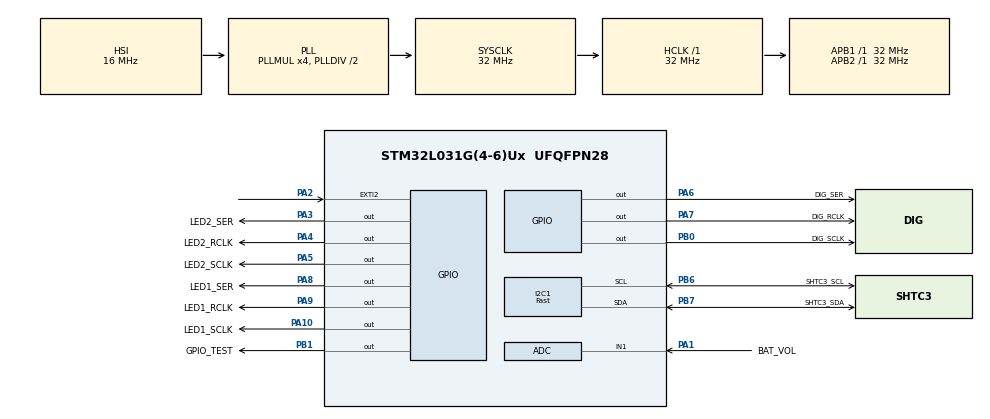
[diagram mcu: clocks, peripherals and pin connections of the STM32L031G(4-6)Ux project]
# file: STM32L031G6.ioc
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ADC.SamplingTime=ADC_SAMPLETIME_19CYCLES_5
I2C1.I2C_Fall_Time=20
I2C1.I2C_Rise_Time=30
I2C1.I2C_Speed_Mode=I2C_Fast
I2C1.Timing=0x00401035
Mcu.Family=STM32L0
Mcu.Name=STM32L031G(4-6)Ux
Mcu.Package=UFQFPN28
NVIC.EXTI2_3_IRQn=true\:0\:0\:false\:false\:true\:true\:true\:true
PA1.GPIO_Label=BAT_VOL
PA1.Mode=IN1
PA1.Signal=ADC_IN1
PA10.GPIO_Label=LED1_SCLK
PA10.GPIO_Speed=GPIO_SPEED_FREQ_VERY_HIGH
PA10.Signal=GPIO_Output
PA13.Mode=Serial_Wire
PA13.Signal=SYS_SWDIO
PA14.Mode=Serial_Wire
PA14.Signal=SYS_SWCLK
PA2.GPIO_ModeDefaultEXTI=GPIO_MODE_IT_FALLING
PA2.GPIO_PuPd=GPIO_PULLUP
PA2.Signal=GPXTI2
PA3.GPIO_Label=LED2_SER
PA3.GPIO_Speed=GPIO_SPEED_FREQ_VERY_HIGH
PA3.Signal=GPIO_Output
PA4.GPIO_Label=LED2_RCLK
PA4.GPIO_Speed=GPIO_SPEED_FREQ_VERY_HIGH
PA4.Signal=GPIO_Output
PA5.GPIO_Label=LED2_SCLK
PA5.GPIO_Speed=GPIO_SPEED_FREQ_VERY_HIGH
PA5.Signal=GPIO_Output
PA6.GPIO_Label=DIG_SER
PA6.GPIO_Speed=GPIO_SPEED_FREQ_VERY_HIGH
PA6.Signal=GPIO_Output
PA7.GPIO_Label=DIG_RCLK
PA7.GPIO_Speed=GPIO_SPEED_FREQ_VERY_HIGH
PA7.Signal=GPIO_Output
PA8.GPIO_Label=LED1_SER
PA8.GPIO_Speed=GPIO_SPEED_FREQ_VERY_HIGH
PA8.Signal=GPIO_Output
PA9.GPIO_Label=LED1_RCLK
PA9.GPIO_Speed=GPIO_SPEED_FREQ_VERY_HIGH
PA9.Signal=GPIO_Output
PB0.GPIO_Label=DIG_SCLK
PB0.GPIO_Speed=GPIO_SPEED_FREQ_VERY_HIGH
PB0.Signal=GPIO_Output
PB1.GPIO_Label=GPIO_TEST
PB1.GPIO_Speed=GPIO_SPEED_FREQ_VERY_HIGH
PB1.PinState=GPIO_PIN_SET
PB1.Signal=GPIO_Output
PB6.GPIO_Label=SHTC3_SCL
PB6.Mode=I2C
PB6.Signal=I2C1_SCL
PB7.GPIO_Label=SHTC3_SDA
PB7.Mode=I2C
PB7.Signal=I2C1_SDA
PC14-OSC32_IN.Mode=LSE-External-Oscillator
PC14-OSC32_IN.Signal=RCC_OSC32_IN
PC15-OSC32_OUT.Mode=LSE-External-Oscillator
PC15-OSC32_OUT.Signal=RCC_OSC32_OUT
ProjectManager.HeapSize=0x200
ProjectManager.StackSize=0x400
ProjectManager.TargetToolchain=MDK-ARM V5
RCC.AHBFreq_Value=32000000
RCC.APB1Freq_Value=32000000
RCC.APB1TimFreq_Value=32000000
RCC.APB2Freq_Value=32000000
RCC.APB2TimFreq_Value=32000000
RCC.HCLKFreq_Value=32000000
RCC.HSE_VALUE=8000000
RCC.HSI16_VALUE=16000000
RCC.HSI_VALUE=16000000
RCC.I2c1ClockSelection=RCC_I2C1CLKSOURCE_SYSCLK
RCC.MSI_VALUE=2097000
RCC.PLLMUL=RCC_PLLMUL_4
RCC.SYSCLKFreq_VALUE=32000000
RCC.SYSCLKSource=RCC_SYSCLKSOURCE_PLLCLK
RCC.VCOOutputFreq_Value=64000000
board=custom

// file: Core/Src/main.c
/* USER CODE BEGIN Header */
/**
  ******************************************************************************
  * @file           : main.c
  * @brief          : Main program body
  ******************************************************************************
  * @attention
  *
  * Copyright (c) 2024 STMicroelectronics.
  * All rights reserved.
  *
  * This software is licensed under terms that can be found in the LICENSE file
  * in the root directory of this software component.
  * If no LICENSE file comes with this software, it is provided AS-IS.
  *
  ******************************************************************************
  */
/* USER CODE END Header */
#include "main.h"
#include "adc.h"
#include "i2c.h"
#include "gpio.h"

/* USER CODE BEGIN PTD */
float temperature = 0;
float humidity = 0;
bool  keypressflag = false;
uint32_t tickstart;
/* USER CODE END PTD */

void SystemClock_Config(void);

int main(void)
{

  /* MCU Configuration--------------------------------------------------------*/

  /* Reset of all peripherals, Initializes the Flash interface and the Systick. */
  HAL_Init();

  /* Configure the system clock */
  SystemClock_Config();

  /* Initialize all configured peripherals */
  MX_GPIO_Init();
  MX_ADC_Init();
  MX_I2C1_Init();
  /* USER CODE BEGIN 2 */
	SHTC3_Read_RHData(&temperature, &humidity);
	tickstart = HAL_GetTick();
  /* USER CODE END 2 */

  /* Infinite loop */
  while (1)
  {

    /* USER CODE BEGIN 3 */
		ShowNum(1, 1, (uint16_t)temperature /100);
		ShowNum(1, 2, ((uint16_t)temperature % 100) / 10);
		ShowNum(1, 3, ((uint16_t)temperature % 10));
		ShowNum(2, 1, (uint16_t)humidity /100);
		ShowNum(2, 2, ((uint16_t)humidity % 100) / 10);
		ShowNum(2, 3, ((uint16_t)humidity % 10));

		if((HAL_GetTick() - tickstart) > (4 * 1000))
		{
				SN74HC595_Send_Data(SN_DIG, 0xC0);									//关闭显示
				SN74HC595_Send_Data(SN_LED1, 0xFF);
				SN74HC595_Send_Data(SN_LED2, 0xFF);

				HAL_PWR_EnterSTOPMode(PWR_LOWPOWERREGULATOR_ON, PWR_STOPENTRY_WFI);
				SystemClock_Config();
		}
		if(keypressflag == true)
		{
				keypressflag = false;
//				HAL_Delay(10);
				if(HAL_GPIO_ReadPin(GPIOA, GPIO_PIN_2) == GPIO_PIN_RESET)
				{
						tickstart = HAL_GetTick();
						SHTC3_Read_RHData(&temperature, &humidity);
				}
		}
  }
  /* USER CODE END 3 */
}

void SystemClock_Config(void)
{
  RCC_OscInitTypeDef RCC_OscInitStruct = {0};
  RCC_ClkInitTypeDef RCC_ClkInitStruct = {0};
  RCC_PeriphCLKInitTypeDef PeriphClkInit = {0};

  /** Configure the main internal regulator output voltage
  */
  __HAL_PWR_VOLTAGESCALING_CONFIG(PWR_REGULATOR_VOLTAGE_SCALE1);

  /** Initializes the RCC Oscillators according to the specified parameters
  * in the RCC_OscInitTypeDef structure.
  */
  RCC_OscInitStruct.OscillatorType = RCC_OSCILLATORTYPE_HSI;
  RCC_OscInitStruct.HSIState = RCC_HSI_ON;
  RCC_OscInitStruct.HSICalibrationValue = RCC_HSICALIBRATION_DEFAULT;
  RCC_OscInitStruct.PLL.PLLState = RCC_PLL_ON;
  RCC_OscInitStruct.PLL.PLLSource = RCC_PLLSOURCE_HSI;
  RCC_OscInitStruct.PLL.PLLMUL = RCC_PLLMUL_4;
  RCC_OscInitStruct.PLL.PLLDIV = RCC_PLLDIV_2;
  if (HAL_RCC_OscConfig(&RCC_OscInitStruct) != HAL_OK)
  {
    Error_Handler();
  }

  /** Initializes the CPU, AHB and APB buses clocks
  */
  RCC_ClkInitStruct.ClockType = RCC_CLOCKTYPE_HCLK|RCC_CLOCKTYPE_SYSCLK
                              |RCC_CLOCKTYPE_PCLK1|RCC_CLOCKTYPE_PCLK2;
  RCC_ClkInitStruct.SYSCLKSource = RCC_SYSCLKSOURCE_PLLCLK;
  RCC_ClkInitStruct.AHBCLKDivider = RCC_SYSCLK_DIV1;
  RCC_ClkInitStruct.APB1CLKDivider = RCC_HCLK_DIV1;
  RCC_ClkInitStruct.APB2CLKDivider = RCC_HCLK_DIV1;

  if (HAL_RCC_ClockConfig(&RCC_ClkInitStruct, FLASH_LATENCY_1) != HAL_OK)
  {
    Error_Handler();
  }
  PeriphClkInit.PeriphClockSelection = RCC_PERIPHCLK_I2C1;
  PeriphClkInit.I2c1ClockSelection = RCC_I2C1CLKSOURCE_SYSCLK;
  if (HAL_RCCEx_PeriphCLKConfig(&PeriphClkInit) != HAL_OK)
  {
    Error_Handler();
  }
}

void Error_Handler(void)
{
  __disable_irq();
  while (1)
  {
  }
}
